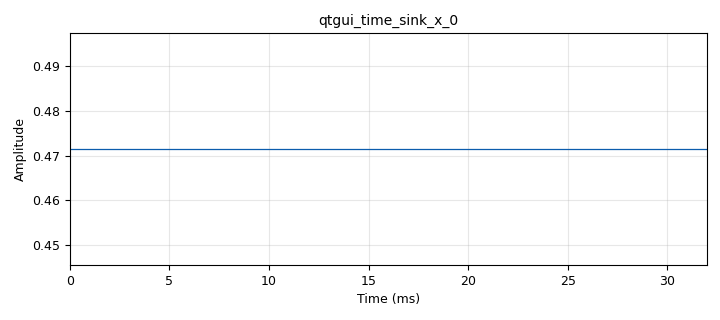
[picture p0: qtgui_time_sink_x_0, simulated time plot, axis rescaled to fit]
options:
  parameters:
    author: JUAN_TATIANA_WILLIAM
    generate_options: qt_gui
    id: Desviacion
    output_language: python
    title: Desviacion
  states: {}

blocks:
- name: samp_rate
  id: variable
  parameters:
    value: '32000'
  states: {}
- name: blocks_throttle_0
  id: blocks_throttle
  parameters:
    samples_per_second: samp_rate
    type: float
  states: {}
- name: blocks_vector_source_x_0
  id: blocks_vector_source_x
  parameters:
    repeat: 'True'
    type: float
    vector: (1,0,1)
  states: {}
- name: epy_block_0
  id: epy_block
  parameters:
    _source_code: "import numpy as np\nfrom gnuradio import gr\n\n\nclass blk(gr.sync_block):\n\tdef __init__( self ) : # only default arguments here\n\t\tgr.sync_block.__init__(\n\t\tself,\n\t\tname =\"Desviacion estandar\", # will show up in GRC\n\t\tin_sig =[np.float32],\n\t\tout_sig =[np.float32]\n\t\t)\t\n\tdef work(self, input_items, output_items ):\n\t\tx = input_items[0] # Senial de entrada .\n\t\ty0 = output_items[0] # Senial acumulada\n\t\ty0 [:] = np.sqrt(np.var(x))\n\t\treturn len(y0)\n\t\t\n\n"
  states: {}
- name: qtgui_time_sink_x_0
  id: qtgui_time_sink_x
  parameters:
    size: '1024'
    srate: samp_rate
    type: float
  states: {}

connections:
- [blocks_throttle_0, '0', epy_block_0, '0']
- [blocks_vector_source_x_0, '0', blocks_throttle_0, '0']
- [epy_block_0, '0', qtgui_time_sink_x_0, '0']

metadata:
  file_format: 1
  grc_version: 3.9.8.0
